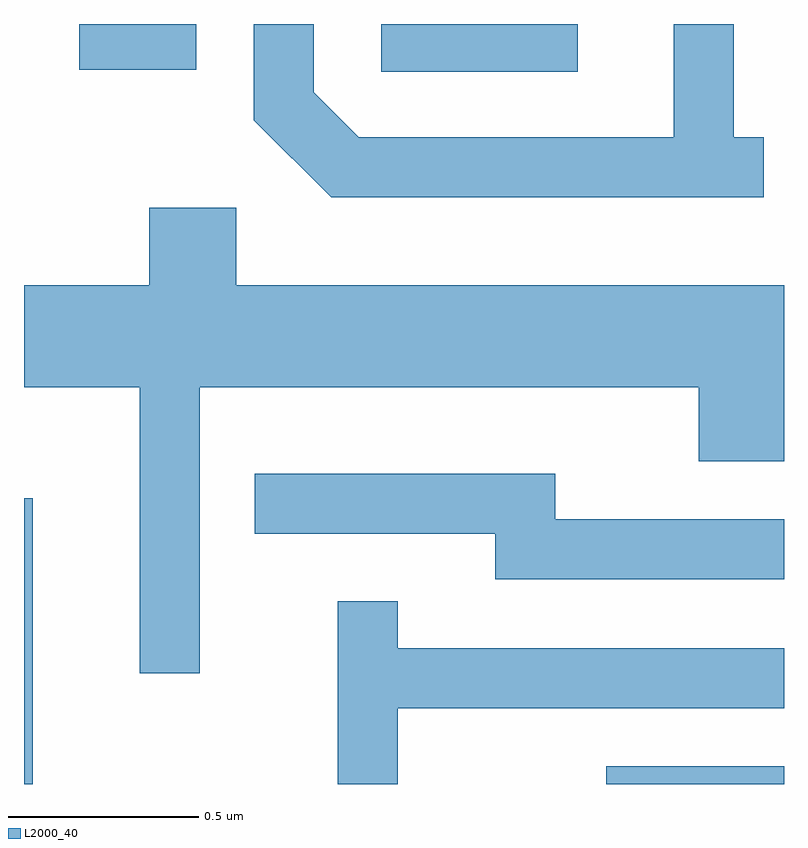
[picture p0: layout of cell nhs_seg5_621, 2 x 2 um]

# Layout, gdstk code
import gdstk
lib = gdstk.Library(unit=1e-6, precision=1e-09)
def R(c, l, rs):  # rectangles x0, y0, x1, y1
    for r in rs: c.add(gdstk.rectangle(r[:2], r[2:], *l))
def P(c, l, *ps):  # polygons
    for p in ps: c.add(gdstk.Polygon(p, *l))
L2000_40 = (2000, 40)

nhs_seg5_621 = lib.new_cell('nhs_seg5_621')
R(nhs_seg5_621, L2000_40, [(189.611,1469.072,189.634,1469.824), (191.143,1469.072,191.611,1469.119), (190.551,1470.946,191.068,1471.072), (189.756,1470.951,190.064,1471.072)])
P(nhs_seg5_621, L2000_40, [(191.558,1470.774),(191.479,1470.774),(191.479,1471.072),(191.321,1471.072),(191.321,1470.774),(190.492,1470.774),(190.374,1470.892),(190.374,1471.072),(190.216,1471.072),(190.216,1470.819),(190.419,1470.616),(191.558,1470.616)],
  [(190.074,1470.116),(191.386,1470.116),(191.386,1469.921),(191.611,1469.921),(191.611,1470.384),(190.169,1470.384),(190.169,1470.589),(189.941,1470.589),(189.941,1470.384),(189.611,1470.384),(189.611,1470.116),(189.916,1470.116),(189.916,1469.363),(190.074,1469.363)],
  [(191.611,1469.769),(191.009,1469.769),(191.009,1469.889),(190.218,1469.889),(190.218,1469.731),(190.851,1469.731),(190.851,1469.611),(191.611,1469.611)],
  [(190.594,1469.271),(191.611,1469.271),(191.611,1469.429),(190.594,1469.429),(190.594,1469.553),(190.436,1469.553),(190.436,1469.072),(190.594,1469.072)])

lib.write_gds('nhs_seg5_621.gds')
